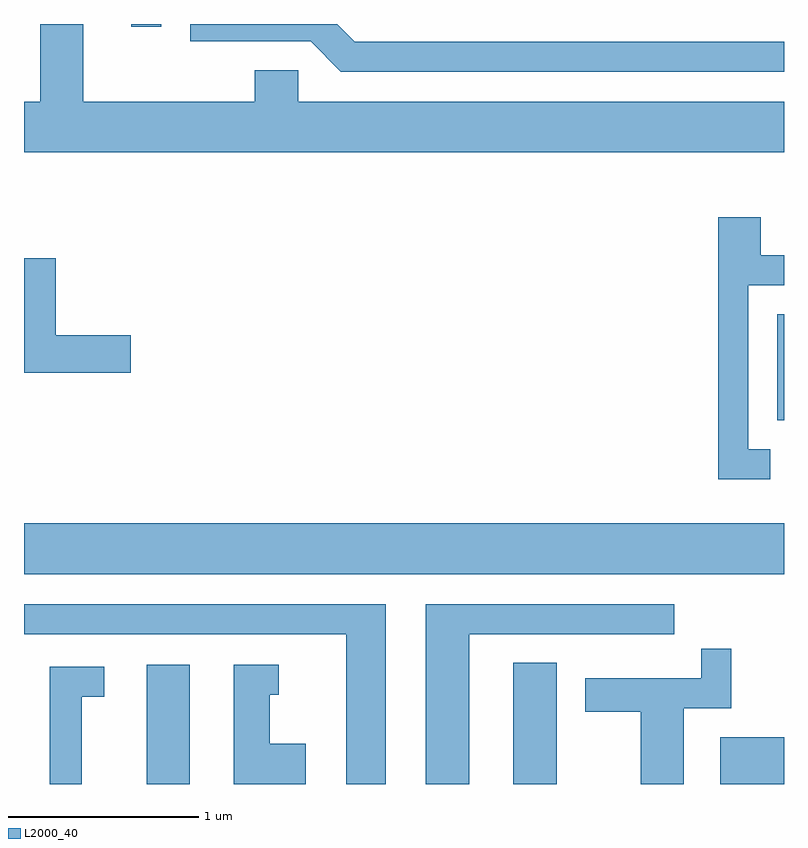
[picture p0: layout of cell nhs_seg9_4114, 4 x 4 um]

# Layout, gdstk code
import gdstk
lib = gdstk.Library(unit=1e-6, precision=1e-09)
def R(c, l, rs):  # rectangles x0, y0, x1, y1
    for r in rs: c.add(gdstk.rectangle(r[:2], r[2:], *l))
def P(c, l, *ps):  # polygons
    for p in ps: c.add(gdstk.Polygon(p, *l))
L2000_40 = (2000, 40)

nhs_seg9_4114 = lib.new_cell('nhs_seg9_4114')
R(nhs_seg9_4114, L2000_40, [(306.256,2048.432,306.484,2049.059), (308.186,2048.432,308.414,2049.069), (309.276,2048.432,309.611,2048.679), (305.611,2049.536,309.611,2049.804), (309.576,2050.346,309.611,2050.904), (306.176,2052.418,306.334,2052.432)])
P(nhs_seg9_4114, L2000_40, [(309.611,2052.024),(307.054,2052.024),(307.054,2052.189),(306.826,2052.189),(306.826,2052.024),(305.924,2052.024),(305.924,2052.432),(305.696,2052.432),(305.696,2052.024),(305.611,2052.024),(305.611,2051.756),(309.611,2051.756)],
  [(309.611,2052.339),(307.352,2052.339),(307.259,2052.432),(306.486,2052.432),(306.486,2052.341),(307.119,2052.341),(307.279,2052.181),(309.611,2052.181)],
  [(309.538,2050.194),(309.424,2050.194),(309.424,2051.056),(309.611,2051.056),(309.611,2051.214),(309.489,2051.214),(309.489,2051.414),(309.266,2051.414),(309.266,2050.036),(309.538,2050.036)],
  [(306.174,2050.794),(305.779,2050.794),(305.779,2051.199),(305.611,2051.199),(305.611,2050.596),(306.174,2050.596)],
  [(307.954,2049.221),(309.033,2049.221),(309.033,2049.379),(307.726,2049.379),(307.726,2048.432),(307.954,2048.432)],
  [(307.514,2049.379),(305.611,2049.379),(305.611,2049.221),(307.306,2049.221),(307.306,2048.432),(307.514,2048.432)],
  [(309.084,2048.831),(309.334,2048.831),(309.334,2049.143),(309.176,2049.143),(309.176,2048.989),(308.566,2048.989),(308.566,2048.811),(308.856,2048.811),(308.856,2048.432),(309.084,2048.432)],
  [(307.094,2048.644),(306.904,2048.644),(306.904,2048.901),(306.953,2048.901),(306.953,2049.059),(306.716,2049.059),(306.716,2048.432),(307.094,2048.432)],
  [(305.914,2048.891),(306.033,2048.891),(306.033,2049.049),(305.746,2049.049),(305.746,2048.432),(305.914,2048.432)])

lib.write_gds('nhs_seg9_4114.gds')
